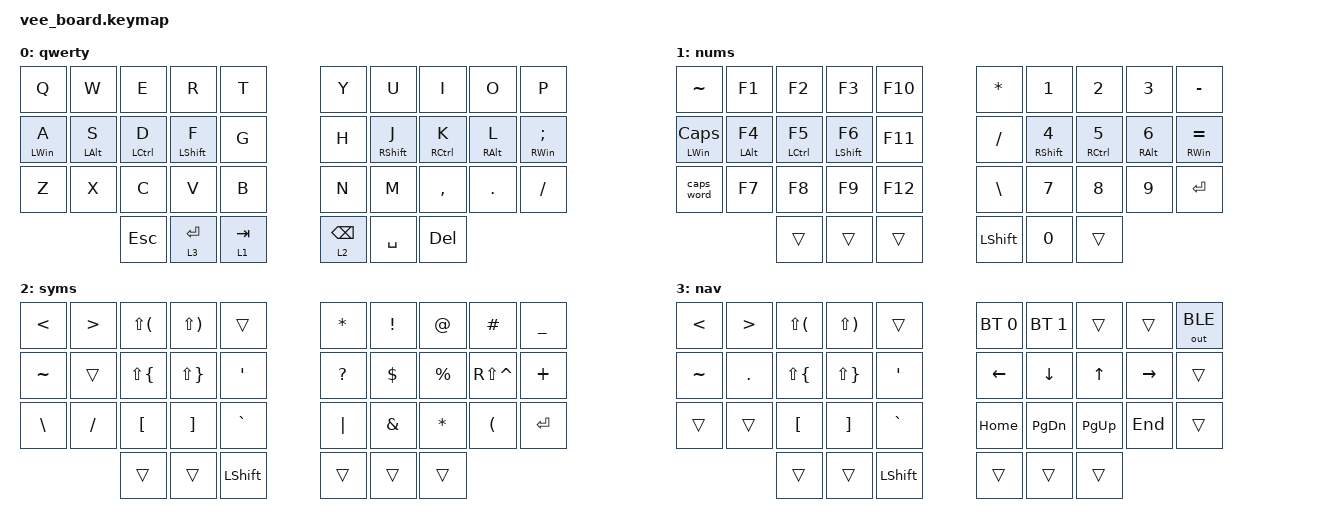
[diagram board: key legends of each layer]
/*
 * Copyright (c) 2020 The ZMK Contributors
 *
 * SPDX-License-Identifier: MIT
 */

#include <behaviors.dtsi>
#include <dt-bindings/zmk/bt.h>
#include <dt-bindings/zmk/keys.h>
#include <dt-bindings/zmk/outputs.h>

&mt {
    tapping-term-ms = <350>;
    quick-tap-ms = <175>;
    require-prior-idle-ms = <200>;
    flavor = "balanced";
};

&lt {
    tapping-term-ms = <350>;
    quick-tap-ms = <150>;
};

/ {
    keymap {
        compatible = "zmk,keymap";

        qwerty {
            bindings = <
  &kp Q           &kp W           &kp E        &kp R             &kp T        &kp Y            &kp U              &kp I        &kp O            &kp P
  &mt LEFT_WIN A  &mt LEFT_ALT S  &mt LCTRL D  &mt LEFT_SHIFT F  &kp G        &kp H            &mt RIGHT_SHIFT J  &mt RCTRL K  &mt RIGHT_ALT L  &mt RIGHT_WIN SEMI
  &kp Z           &kp X           &kp C        &kp V             &kp B        &kp N            &kp M              &kp COMMA    &kp PERIOD       &kp FSLH
                                  &kp ESC      &lt 3 ENTER       &lt 1 TAB    &lt 2 BACKSPACE  &kp SPACE          &kp DEL
            >;
        };

        nums {
            bindings = <
  &kp TILDE          &kp F1           &kp F2        &kp F3             &kp F10    &kp ASTERISK    &kp NUMBER_1              &kp NUMBER_2        &kp NUMBER_3            &kp MINUS
  &mt LEFT_WIN CAPS  &mt LEFT_ALT F4  &mt LCTRL F5  &mt LEFT_SHIFT F6  &kp F11    &kp SLASH       &mt RIGHT_SHIFT NUMBER_4  &mt RCTRL NUMBER_5  &mt RIGHT_ALT NUMBER_6  &mt RIGHT_WIN EQUAL
  &caps_word         &kp F7           &kp F8        &kp F9             &kp F12    &kp BACKSLASH   &kp NUMBER_7              &kp NUMBER_8        &kp NUMBER_9            &kp ENTER
                                      &trans        &trans             &trans     &kp LEFT_SHIFT  &kp N0                    &trans
            >;
        };

        syms {
            bindings = <
  &kp LESS_THAN  &kp GREATER_THAN  &kp LS(LPAR)  &kp LS(RPAR)  &trans            &kp ASTERISK  &kp EXCLAMATION  &kp AT_SIGN   &kp HASH              &kp UNDERSCORE
  &kp TILDE      &trans            &kp LS(LBRC)  &kp LS(RBRC)  &kp SQT           &kp QUESTION  &kp DOLLAR       &kp PERCENT   &kp RS(CARET)         &kp PLUS
  &kp BACKSLASH  &kp SLASH         &kp LBKT      &kp RBKT      &kp GRAVE         &kp PIPE      &kp AMPERSAND    &kp ASTERISK  &kp LEFT_PARENTHESIS  &kp ENTER
                                   &trans        &trans        &kp LEFT_SHIFT    &trans        &trans           &trans
            >;
        };

        nav {
            bindings = <
  &kp LESS_THAN  &kp GREATER_THAN  &kp LS(LPAR)  &kp LS(RPAR)  &trans            &bt BT_SEL 0  &bt BT_SEL 1  &trans     &trans     &out OUT_BLE
  &kp TILDE      &kp PERIOD        &kp LS(LBRC)  &kp LS(RBRC)  &kp SQT           &kp LEFT      &kp DOWN      &kp UP     &kp RIGHT  &trans
  &trans         &trans            &kp LBKT      &kp RBKT      &kp GRAVE         &kp HOME      &kp PG_DN     &kp PG_UP  &kp END    &trans
                                   &trans        &trans        &kp LEFT_SHIFT    &trans        &trans        &trans
            >;
        };
    };
};
